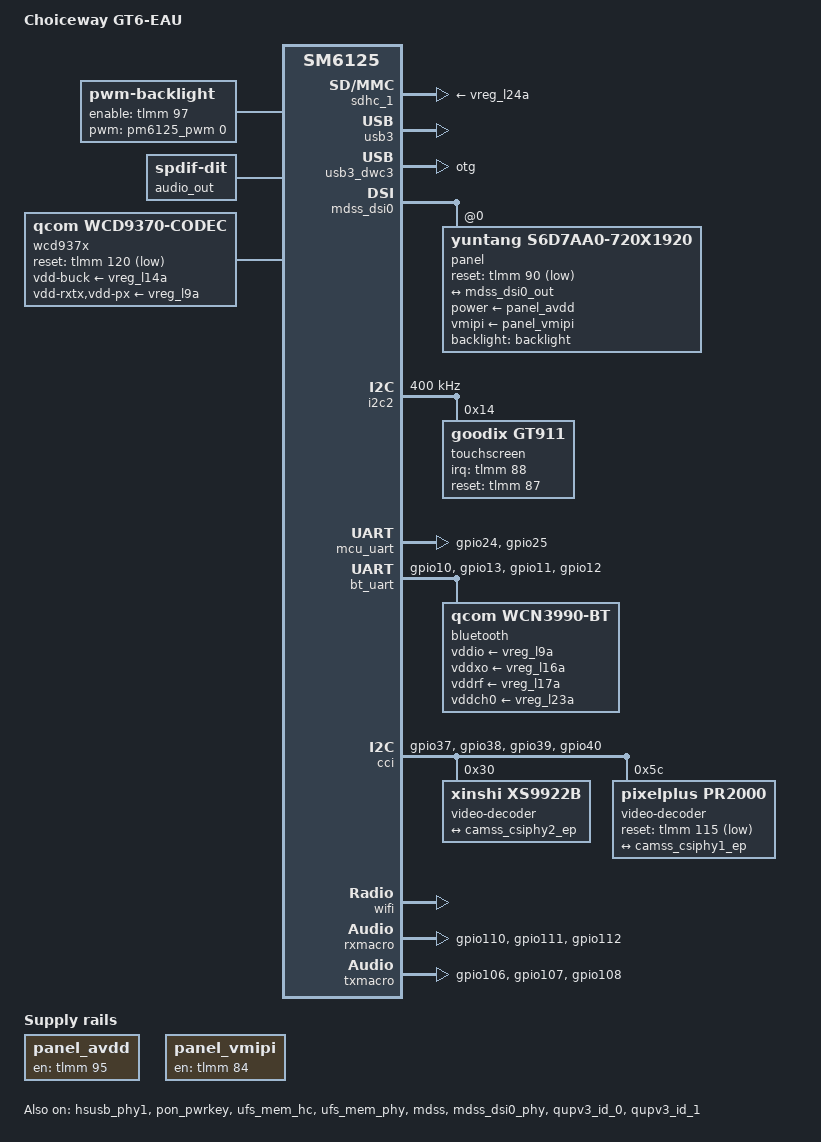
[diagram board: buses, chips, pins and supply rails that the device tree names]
// SPDX-License-Identifier: BSD-3-Clause
/*
 * Choiceway GT6-EAU car head unit (Fibocom SC820/QCM6125), derived from
 * sm6125-xiaomi-ginkgo.dts by Gabriel Gonzales <semfault@disroot.org>.
 */

/dts-v1/;

#include <dt-bindings/arm/qcom,ids.h>
#include <dt-bindings/firmware/qcom,scm.h>
#include <dt-bindings/gpio/gpio.h>
#include <dt-bindings/input/input.h>
#include <dt-bindings/pinctrl/qcom,pmic-gpio.h>
#include <dt-bindings/soc/qcom,apr.h>
#include <dt-bindings/sound/qcom,q6afe.h>
#include <dt-bindings/sound/qcom,q6asm.h>
#include "sm6125.dtsi"
#include "pm6125.dtsi"

/ {
	model = "Choiceway GT6-EAU";
	compatible = "choiceway,gt6-eau", "qcom,sm6125";
	chassis-type = "embedded";

	/* required for bootloader to select correct board */
	/*
	 * ABL must see an exact match for this board, or it applies the unit's downstream dtbo
	 * overlay to this DTB, fails ("Dtb overlay failed") and drops back to fastboot (bench,
	 * 2026-10-07). These are the car overlay's own IDs: QCM6125 (0x1d3) rev 1.0, board 0x22
	 * subtype 0; ABL then logs "Exact DTB match found. DTBO search is not required".
	 */
	qcom,msm-id = <0x1d3 0x10000>;
	qcom,board-id = <0x22 0>;

	aliases {
		serial1 = &mcu_uart;
		serial2 = &bt_uart;
	};

	chosen {
		#address-cells = <2>;
		#size-cells = <2>;
		ranges;

		framebuffer0: framebuffer@5c000000 {
			compatible = "simple-framebuffer";
			reg = <0 0x5c000000 0 (1920 * 720 * 4)>;
			width = <1920>;
			height = <720>;
			stride = <(1920 * 4)>;
			format = "a8r8g8b8";
		};
	};

	panel_avdd: regulator-panel-avdd {
		compatible = "regulator-fixed";
		regulator-name = "panel_avdd";
		gpio = <&tlmm 95 GPIO_ACTIVE_HIGH>;
		enable-active-high;
		startup-delay-us = <5000>;
	};

	panel_vmipi: regulator-panel-vmipi {
		compatible = "regulator-fixed";
		regulator-name = "panel_vmipi";
		gpio = <&tlmm 84 GPIO_ACTIVE_HIGH>;
		enable-active-high;
		startup-delay-us = <5000>;
	};

	/*
	 * Stock: 12-bit levels on the PM6125 LPG, 100 us period, enable on GPIO 97.
	 * The default is half brightness; the stock 102/4095 reads as off in daylight.
	 */
	backlight: backlight {
		compatible = "pwm-backlight";
		pwms = <&pm6125_pwm 0 100000>;
		enable-gpios = <&tlmm 97 GPIO_ACTIVE_HIGH>;
		brightness-levels = <0 4095>;
		num-interpolated-steps = <4095>;
		default-brightness-level = <2048>;
	};

	reserved-memory {
		debug_mem: debug@ffb00000 {
			reg = <0x0 0xffb00000 0x0 0xc0000>;
			no-map;
		};

		last_log_mem: lastlog@ffbc0000 {
			reg = <0x0 0xffbc0000 0x0 0x80000>;
			no-map;
		};

		pstore_mem: ramoops@ffc00000 {
			compatible = "ramoops";
			reg = <0x0 0xffc40000 0x0 0xc0000>;
			record-size = <0x1000>;
			console-size = <0x40000>;
			pmsg-size = <0x20000>;
		};

		cmdline_mem: memory@ffd00000 {
			reg = <0x0 0xffd40000 0x0 0x1000>;
			no-map;
		};

		/*
		 * The modem's remote file system buffer. Stock allocates its 2 MiB at boot
		 * (qcom,sharedmem-uio, reg <0 0x200000>, client 1), so this one is dynamic too.
		 */
		rmtfs_mem: rmtfs {
			compatible = "qcom,rmtfs-mem";
			size = <0x0 0x200000>;
			alignment = <0x0 0x100000>;
			no-map;

			qcom,client-id = <1>;
			qcom,vmid = <QCOM_SCM_VMID_MSS_MSA>;
		};
	};

	/* The modem's SMP2P link: stock qcom,smp2p-modem (SMEM 435/428, SPI 70, APCS bit 14) */
	smp2p-mpss {
		compatible = "qcom,smp2p";
		qcom,smem = <435>, <428>;
		interrupts = <GIC_SPI 70 IRQ_TYPE_EDGE_RISING>;
		mboxes = <&apcs_glb 14>;
		qcom,local-pid = <0>;
		qcom,remote-pid = <1>;

		modem_smp2p_out: master-kernel {
			qcom,entry-name = "master-kernel";
			#qcom,smem-state-cells = <1>;
		};

		modem_smp2p_in: slave-kernel {
			qcom,entry-name = "slave-kernel";
			interrupt-controller;
			#interrupt-cells = <2>;
		};
	};


};


&hsusb_phy1 {
	vdd-supply = <&vreg_l7a>;
	vdda-pll-supply = <&vreg_l10a>;
	vdda-phy-dpdm-supply = <&vreg_l15a>;
	status = "okay";
};

&pon_pwrkey {
	status = "okay";
};


&rpm_requests {
	regulators-0 {
		compatible = "qcom,rpm-pm6125-regulators";

		vreg_s6a: s6 {
			regulator-min-microvolt = <936000>;
			regulator-max-microvolt = <1422000>;
		};

		vreg_l1a: l1 {
			regulator-min-microvolt = <1200000>;
			regulator-max-microvolt = <1256000>;
		};

		vreg_l2a: l2 {
			regulator-min-microvolt = <1000000>;
			regulator-max-microvolt = <1056000>;
		};

		vreg_l3a: l3 {
			regulator-min-microvolt = <1000000>;
			regulator-max-microvolt = <1064000>;
		};

		vreg_l4a: l4 {
			regulator-min-microvolt = <872000>;
			regulator-max-microvolt = <976000>;
			regulator-allow-set-load;
		};

		vreg_l5a: l5 {
			regulator-min-microvolt = <1648000>;
			regulator-max-microvolt = <2950000>;
			regulator-allow-set-load;
		};

		vreg_l6a: l6 {
			regulator-min-microvolt = <576000>;
			regulator-max-microvolt = <656000>;
		};

		vreg_l7a: l7 {
			regulator-min-microvolt = <872000>;
			regulator-max-microvolt = <976000>;
		};

		vreg_l8a: l8 {
			regulator-min-microvolt = <400000>;
			regulator-max-microvolt = <728000>;
		};

		vreg_l9a: l9 {
			regulator-min-microvolt = <1800000>;
			regulator-max-microvolt = <1896000>;
		};

		vreg_l10a: l10 {
			regulator-min-microvolt = <1800000>;
			regulator-max-microvolt = <1896000>;
			regulator-allow-set-load;
		};

		vreg_l11a: l11 {
			regulator-min-microvolt = <1800000>;
			regulator-max-microvolt = <1952000>;
			regulator-allow-set-load;
		};

		vreg_l12a: l12 {
			regulator-min-microvolt = <1800000>;
			regulator-max-microvolt = <1996000>;
		};

		vreg_l13a: l13 {
			regulator-min-microvolt = <1800000>;
			regulator-max-microvolt = <1832000>;
		};

		vreg_l14a: l14 {
			regulator-min-microvolt = <1800000>;
			regulator-max-microvolt = <1904000>;
		};

		vreg_l15a: l15 {
			regulator-min-microvolt = <3104000>;
			regulator-max-microvolt = <3232000>;
		};

		vreg_l16a: l16 {
			regulator-min-microvolt = <1800000>;
			regulator-max-microvolt = <1904000>;
		};

		vreg_l17a: l17 {
			regulator-min-microvolt = <1248000>;
			regulator-max-microvolt = <1304000>;
		};

		vreg_l18a: l18 {
			regulator-min-microvolt = <1200000>;
			regulator-max-microvolt = <1264000>;
			regulator-allow-set-load;
		};

		vreg_l19a: l19 {
			regulator-min-microvolt = <1648000>;
			regulator-max-microvolt = <2952000>;
		};

		vreg_l20a: l20 {
			regulator-min-microvolt = <1648000>;
			regulator-max-microvolt = <2952000>;
		};

		vreg_l21a: l21 {
			regulator-min-microvolt = <2600000>;
			regulator-max-microvolt = <2856000>;
		};

		vreg_l22a: l22 {
			regulator-min-microvolt = <2944000>;
			regulator-max-microvolt = <2950000>;
			regulator-allow-set-load;
		};

		vreg_l23a: l23 {
			regulator-min-microvolt = <3000000>;
			regulator-max-microvolt = <3400000>;
		};

		vreg_l24a: l24 {
			regulator-min-microvolt = <2944000>;
			regulator-max-microvolt = <2950000>;
			regulator-allow-set-load;
		};

	};
};



&sdhc_1 {
	vmmc-supply = <&vreg_l24a>;
	vqmmc-supply = <&vreg_l11a>;
	status = "okay";
};


/*
 * The unit stores on UFS, not eMMC: the stock partitions are /dev/block/sdaN (super is
 * sda6) and EDL reads it with --memory=ufs. Supplies as on laurel-sprout, the mainline
 * SM6125 board with UFS on the same PM6125 rails. Riposte OS (Linux) roots from userdata.
 */
&ufs_mem_hc {
	vcc-supply = <&vreg_l24a>;
	vccq2-supply = <&vreg_l11a>;
	vcc-max-microamp = <600000>;
	vccq2-max-microamp = <600000>;
	vdd-hba-supply = <&vreg_l18a>;
	status = "okay";
};

&ufs_mem_phy {
	vdda-phy-supply = <&vreg_l4a>;
	vdda-pll-supply = <&vreg_l10a>;
	status = "okay";
};

&tlmm {
	gpio-reserved-ranges = <22 2>, <28 6>;
};

&usb3 {
	status = "okay";
};

&usb3_dwc3 {
	/*
	 * Either role, switched from userspace: device by default, so the bench laptop stays the
	 * host (adb, the boot gadget); host when Riposte OS runs Android Auto with a phone on the
	 * cable: echo host > /sys/class/usb_role/<dwc3>-role-switch/role. No connector or extcon
	 * here, the unit's socket has no ID pin that Linux sees.
	 */
	dr_mode = "otg";
	usb-role-switch;
	role-switch-default-mode = "peripheral";
};

&mdss {
	status = "okay";
};

&mdss_dsi0 {
	vdda-supply = <&vreg_l18a>;
	status = "okay";

	panel@0 {
		compatible = "yuntang,s6d7aa0-720x1920";
		reg = <0>;

		reset-gpios = <&tlmm 90 GPIO_ACTIVE_LOW>;
		power-supply = <&panel_avdd>;
		vmipi-supply = <&panel_vmipi>;
		backlight = <&backlight>;
		rotation = <90>;

		port {
			panel_in: endpoint {
				remote-endpoint = <&mdss_dsi0_out>;
			};
		};
	};
};

&mdss_dsi0_out {
	remote-endpoint = <&panel_in>;
	data-lanes = <0 1 2 3>;
};

&mdss_dsi0_phy {
	status = "okay";
};

/* Touch: Goodix GT9xx on SE2 (stock: i2c-1 0x14, irq GPIO 88, reset GPIO 87) */
&qupv3_id_0 {
	status = "okay";
};

&i2c2 {
	clock-frequency = <400000>;
	status = "okay";

	touchscreen@14 {
		compatible = "goodix,gt911";
		reg = <0x14>;

		interrupts-extended = <&tlmm 88 IRQ_TYPE_LEVEL_LOW>;
		irq-gpios = <&tlmm 88 GPIO_ACTIVE_HIGH>;
		reset-gpios = <&tlmm 87 GPIO_ACTIVE_HIGH>;
	};
};

/*
 * The MCU link: SE5 as a 2-wire UART on GPIO 24/25 (stock /dev/ttyHS1, qupv3_se5_2uart).
 * Mainline only describes SE5 as i2c5/spi5, so the UART node lives here.
 */
&qupv3_id_1 {
	status = "okay";

	mcu_uart: serial@4c80000 {
		compatible = "qcom,geni-uart";
		reg = <0x04c80000 0x4000>;
		clocks = <&gcc GCC_QUPV3_WRAP1_S0_CLK>;
		clock-names = "se";
		interrupts = <GIC_SPI 308 IRQ_TYPE_LEVEL_HIGH>;
		pinctrl-0 = <&mcu_uart_default>;
		pinctrl-names = "default";
	};
};

&tlmm {
	mcu_uart_default: mcu-uart-default-state {
		pins = "gpio24", "gpio25";
		function = "qup10";
		drive-strength = <2>;
		bias-disable;
	};
};

/* pm6125.dtsi leaves USID 1 empty; the backlight PWM lives there */
&{/soc@0/spmi@1c40000/pmic@1} {
	#address-cells = <1>;
	#size-cells = <0>;

	pm6125_pwm: pwm {
		compatible = "qcom,pm6125-pwm";
		#pwm-cells = <2>;
	};
};

/*
 * Camera pipeline (os/mainline/CAMERA.md). Registers, interrupts, SMMU streams and CCI pins
 * from the stock device tree; clock names are SDM660's, mapped to SM6125's GCC clocks.
 */
&{/soc@0} {
	camss: camss@5c00020 {
		compatible = "qcom,sm6125-camss";
		reg = <0x05c00020 0x10>,
			      <0x05c30000 0x400>,
			      <0x05c30400 0x400>,
			      <0x05c30800 0x400>,
			      <0x05c30c00 0x400>,
			      <0x01628000 0x1000>,
			      <0x05c00120 0x4>,
			      <0x01629000 0x1000>,
			      <0x05c00124 0x4>,
			      <0x0162a000 0x1000>,
			      <0x05c00128 0x4>,
			      <0x05c31000 0xc00>,
			      <0x05c10000 0x4000>,
			      <0x05c14000 0x4000>;
		reg-names = "csi_clk_mux",
				    "csid0",
				    "csid1",
				    "csid2",
				    "csid3",
				    "csiphy0",
				    "csiphy0_clk_mux",
				    "csiphy1",
				    "csiphy1_clk_mux",
				    "csiphy2",
				    "csiphy2_clk_mux",
				    "ispif",
				    "vfe0",
				    "vfe1";
		interrupts = <GIC_SPI 208 IRQ_TYPE_EDGE_RISING>,
				     <GIC_SPI 209 IRQ_TYPE_EDGE_RISING>,
				     <GIC_SPI 210 IRQ_TYPE_EDGE_RISING>,
				     <GIC_SPI 211 IRQ_TYPE_EDGE_RISING>,
				     <GIC_SPI 72 IRQ_TYPE_EDGE_RISING>,
				     <GIC_SPI 73 IRQ_TYPE_EDGE_RISING>,
				     <GIC_SPI 74 IRQ_TYPE_EDGE_RISING>,
				     <GIC_SPI 212 IRQ_TYPE_EDGE_RISING>,
				     <GIC_SPI 214 IRQ_TYPE_EDGE_RISING>,
				     <GIC_SPI 215 IRQ_TYPE_EDGE_RISING>;
		interrupt-names = "csid0",
					  "csid1",
					  "csid2",
					  "csid3",
					  "csiphy0",
					  "csiphy1",
					  "csiphy2",
					  "ispif",
					  "vfe0",
					  "vfe1";
		clocks = <&gcc GCC_CAMSS_AHB_CLK_SRC>,
				 <&gcc GCC_CAMSS_CPHY_CSID0_CLK>,
				 <&gcc GCC_CAMSS_CPHY_CSID1_CLK>,
				 <&gcc GCC_CAMSS_CPHY_CSID2_CLK>,
				 <&gcc GCC_CAMSS_CPHY_CSID3_CLK>,
				 <&gcc GCC_CAMSS_CSI0_AHB_CLK>,
				 <&gcc GCC_CAMSS_CSI0_CLK>,
				 <&gcc GCC_CAMSS_CPHY_CSID0_CLK>,
				 <&gcc GCC_CAMSS_CSI0PIX_CLK>,
				 <&gcc GCC_CAMSS_CSI0RDI_CLK>,
				 <&gcc GCC_CAMSS_CSI1_AHB_CLK>,
				 <&gcc GCC_CAMSS_CSI1_CLK>,
				 <&gcc GCC_CAMSS_CPHY_CSID1_CLK>,
				 <&gcc GCC_CAMSS_CSI1PIX_CLK>,
				 <&gcc GCC_CAMSS_CSI1RDI_CLK>,
				 <&gcc GCC_CAMSS_CSI2_AHB_CLK>,
				 <&gcc GCC_CAMSS_CSI2_CLK>,
				 <&gcc GCC_CAMSS_CPHY_CSID2_CLK>,
				 <&gcc GCC_CAMSS_CSI2PIX_CLK>,
				 <&gcc GCC_CAMSS_CSI2RDI_CLK>,
				 <&gcc GCC_CAMSS_CSI3_AHB_CLK>,
				 <&gcc GCC_CAMSS_CSI3_CLK>,
				 <&gcc GCC_CAMSS_CPHY_CSID3_CLK>,
				 <&gcc GCC_CAMSS_CSI3PIX_CLK>,
				 <&gcc GCC_CAMSS_CSI3RDI_CLK>,
				 <&gcc GCC_CAMSS_CSI0PHYTIMER_CLK>,
				 <&gcc GCC_CAMSS_CSI1PHYTIMER_CLK>,
				 <&gcc GCC_CAMSS_CSI2PHYTIMER_CLK>,
				 <&gcc GCC_CAMSS_CSIPHY0_CLK>,
				 <&gcc GCC_CAMSS_CSIPHY1_CLK>,
				 <&gcc GCC_CAMSS_CSIPHY2_CLK>,
				 <&gcc GCC_CAMSS_CSI_VFE0_CLK>,
				 <&gcc GCC_CAMSS_CSI_VFE1_CLK>,
				 <&gcc GCC_CAMSS_ISPIF_AHB_CLK>,
				 <&gcc GCC_CAMSS_THROTTLE_RT_AXI_CLK>,
				 <&gcc GCC_CAMSS_TOP_AHB_CLK>,
				 <&gcc GCC_CAMSS_VFE0_AHB_CLK>,
				 <&gcc GCC_CAMSS_VFE0_CLK>,
				 <&gcc GCC_CAMSS_VFE0_STREAM_CLK>,
				 <&gcc GCC_CAMSS_VFE1_AHB_CLK>,
				 <&gcc GCC_CAMSS_VFE1_CLK>,
				 <&gcc GCC_CAMSS_VFE1_STREAM_CLK>,
				 <&gcc GCC_CAMSS_VFE_VBIF_AHB_CLK>,
				 <&gcc GCC_CAMSS_VFE_VBIF_AXI_CLK>;
		clock-names = "ahb",
				      "cphy_csid0",
				      "cphy_csid1",
				      "cphy_csid2",
				      "cphy_csid3",
				      "csi0_ahb",
				      "csi0",
				      "csi0_phy",
				      "csi0_pix",
				      "csi0_rdi",
				      "csi1_ahb",
				      "csi1",
				      "csi1_phy",
				      "csi1_pix",
				      "csi1_rdi",
				      "csi2_ahb",
				      "csi2",
				      "csi2_phy",
				      "csi2_pix",
				      "csi2_rdi",
				      "csi3_ahb",
				      "csi3",
				      "csi3_phy",
				      "csi3_pix",
				      "csi3_rdi",
				      "csiphy0_timer",
				      "csiphy1_timer",
				      "csiphy2_timer",
				      "csiphy0",
				      "csiphy1",
				      "csiphy2",
				      "csi_vfe0",
				      "csi_vfe1",
				      "ispif_ahb",
				      "throttle_axi",
				      "top_ahb",
				      "vfe0_ahb",
				      "vfe0",
				      "vfe0_stream",
				      "vfe1_ahb",
				      "vfe1",
				      "vfe1_stream",
				      "vfe_ahb",
				      "vfe_axi";
		iommus = <&apps_smmu 0x420 0x0>,
			 <&apps_smmu 0x421 0x2>;
		power-domains = <&gcc CAMSS_VFE0_GDSC>,
				<&gcc CAMSS_VFE1_GDSC>;

		ports {
			#address-cells = <1>;
			#size-cells = <0>;

			/* CSIPHY 1: the PR2000, four lanes (stock laneAssign 0x4320) */
			port@1 {
				reg = <1>;

				camss_csiphy1_ep: endpoint {
					clock-lanes = <7>;
					data-lanes = <0 1 2 3>;
					remote-endpoint = <&pr2000_ep>;
				};
			};

			/* CSIPHY 2: the XS9922B, two lanes (stock laneAssign 0x20), VC 0..3 */
			port@2 {
				reg = <2>;

				camss_csiphy2_ep: endpoint {
					clock-lanes = <7>;
					data-lanes = <0 1>;
					remote-endpoint = <&xs9922b_ep>;
				};
			};
		};
	};

	cci: cci@5c0c000 {
		compatible = "qcom,msm8996-cci";
		#address-cells = <1>;
		#size-cells = <0>;
		reg = <0x05c0c000 0x4000>;
		interrupts = <GIC_SPI 207 IRQ_TYPE_EDGE_RISING>;
		assigned-clocks = <&gcc GCC_CAMSS_CCI_CLK>;
		assigned-clock-rates = <37500000>;
		clocks = <&gcc GCC_CAMSS_TOP_AHB_CLK>,
			 <&gcc GCC_CAMSS_CCI_AHB_CLK>,
			 <&gcc GCC_CAMSS_CCI_CLK>,
			 <&gcc GCC_CAMSS_AHB_CLK_SRC>;
		clock-names = "camss_top_ahb", "cci_ahb", "cci", "camss_ahb";
		pinctrl-0 = <&cci0_default &cci1_default>;
		pinctrl-names = "default";
		power-domains = <&gcc CAMSS_TOP_GDSC>;

		cci_i2c0: i2c-bus@0 {
			reg = <0>;
			clock-frequency = <400000>;
			#address-cells = <1>;
			#size-cells = <0>;

			/* the four 360 cameras' decoder (stock: AIS slave 0x60, ID 0x9999) */
			video-decoder@30 {
				compatible = "xinshi,xs9922b";
				reg = <0x30>;

				port {
					xs9922b_ep: endpoint {
						data-lanes = <1 2>;
						link-frequencies = /bits/ 64 <750000000>;
						remote-endpoint = <&camss_csiphy2_ep>;
					};
				};
			};
		};

		cci_i2c1: i2c-bus@1 {
			reg = <1>;
			clock-frequency = <400000>;
			#address-cells = <1>;
			#size-cells = <0>;

			/* the reverse camera's decoder (stock: AIS slave 0xb8, ID 0x2000) */
			video-decoder@5c {
				compatible = "pixelplus,pr2000";
				reg = <0x5c>;
				reset-gpios = <&tlmm 115 GPIO_ACTIVE_LOW>;

				port {
					pr2000_ep: endpoint {
						data-lanes = <1 2 3 4>;
						link-frequencies = /bits/ 64 <148500000>;
						remote-endpoint = <&camss_csiphy1_ep>;
					};
				};
			};
		};
	};
};

&tlmm {
	cci0_default: cci0-default-state {
		pins = "gpio37", "gpio38";
		function = "cci_i2c";
		drive-strength = <2>;
		bias-pull-up;
	};

	cci1_default: cci1-default-state {
		pins = "gpio39", "gpio40";
		function = "cci_i2c";
		drive-strength = <2>;
		bias-pull-up;
	};
};

/*
 * Wi-Fi + Bluetooth: a Qualcomm WCN3990-family combo chip (stock "qca,wcn3990" BT node, "qcom,icnss"
 * WLAN at 0xc800000, BT SoC property "cherokee"). The WLAN firmware runs inside the modem DSP,
 * so Wi-Fi needs the modem up first:
 *
 *   remoteproc mpss (modem.mdt) ──QMI──► wlan PD (wlanmdsp.mbn via tqftpserv) ◄──QMI── ath10k_snoc
 *
 * Every number here is the stock device tree's; the bindings are SM6115's, whose modem
 * resources (PAS id 4, crash SMEM 421, SSCTL 0x12) and WCN3990 rails match this SoC's.
 */
&{/soc@0} {
	remoteproc_mpss: remoteproc@6080000 {
		compatible = "qcom,sm6115-mpss-pas";
		reg = <0x06080000 0x100>;

		interrupts-extended = <&intc GIC_SPI 307 IRQ_TYPE_EDGE_RISING>,
				      <&modem_smp2p_in 0 IRQ_TYPE_EDGE_RISING>,
				      <&modem_smp2p_in 1 IRQ_TYPE_EDGE_RISING>,
				      <&modem_smp2p_in 2 IRQ_TYPE_EDGE_RISING>,
				      <&modem_smp2p_in 3 IRQ_TYPE_EDGE_RISING>,
				      <&modem_smp2p_in 7 IRQ_TYPE_EDGE_RISING>;
		interrupt-names = "wdog", "fatal", "ready", "handover",
				  "stop-ack", "shutdown-ack";

		clocks = <&rpmcc RPM_SMD_XO_CLK_SRC>;
		clock-names = "xo";

		power-domains = <&rpmpd SM6125_VDDCX>;

		memory-region = <&modem_mem>;
		firmware-name = "qcom/sm6125/choiceway/gt6eau/modem.mdt";

		qcom,smem-states = <&modem_smp2p_out 0>;
		qcom,smem-state-names = "stop";

		glink-edge {
			interrupts = <GIC_SPI 68 IRQ_TYPE_EDGE_RISING>;
			label = "mpss";
			qcom,remote-pid = <1>;
			mboxes = <&apcs_glb 12>;
		};
	};

	/* Stock qcom,icnss: same SPIs 358-369, SMMU stream 0x80, MSA at 0x53300000 */
	wifi: wifi@c800000 {
		compatible = "qcom,wcn3990-wifi";
		reg = <0x0c800000 0x800000>;
		reg-names = "membase";
		memory-region = <&wlan_msa_mem>;
		interrupts = <GIC_SPI 358 IRQ_TYPE_LEVEL_HIGH>,
			     <GIC_SPI 359 IRQ_TYPE_LEVEL_HIGH>,
			     <GIC_SPI 360 IRQ_TYPE_LEVEL_HIGH>,
			     <GIC_SPI 361 IRQ_TYPE_LEVEL_HIGH>,
			     <GIC_SPI 362 IRQ_TYPE_LEVEL_HIGH>,
			     <GIC_SPI 363 IRQ_TYPE_LEVEL_HIGH>,
			     <GIC_SPI 364 IRQ_TYPE_LEVEL_HIGH>,
			     <GIC_SPI 365 IRQ_TYPE_LEVEL_HIGH>,
			     <GIC_SPI 366 IRQ_TYPE_LEVEL_HIGH>,
			     <GIC_SPI 367 IRQ_TYPE_LEVEL_HIGH>,
			     <GIC_SPI 368 IRQ_TYPE_LEVEL_HIGH>,
			     <GIC_SPI 369 IRQ_TYPE_LEVEL_HIGH>;
		iommus = <&apps_smmu 0x80 0x1>;

		/* stock: vdd-cx-mx L8, vdd-1.8-xo L16, vdd-1.3-rfa L17, vdd-3.3-ch0 L23 */
		vdd-0.8-cx-mx-supply = <&vreg_l8a>;
		vdd-1.8-xo-supply = <&vreg_l16a>;
		vdd-1.3-rfa-supply = <&vreg_l17a>;
		vdd-3.3-ch0-supply = <&vreg_l23a>;

		/* stock qcom,wlan-msa-fixed-region: the firmware owns the MSA permissions */
		qcom,msa-fixed-perm;
	};
};

/*
 * Bluetooth: SE9 as a 4-wire UART on GPIO 10-13 (stock /dev/ttyHS0, qupv3_se9_4uart, SPI 312).
 * Mainline only describes SE9 as i2c9/spi9, so the UART node lives here.
 */
&qupv3_id_1 {
	bt_uart: serial@4c90000 {
		compatible = "qcom,geni-uart";
		reg = <0x04c90000 0x4000>;
		clocks = <&gcc GCC_QUPV3_WRAP1_S4_CLK>;
		clock-names = "se";
		interrupts = <GIC_SPI 312 IRQ_TYPE_LEVEL_HIGH>;
		pinctrl-0 = <&bt_uart_default>;
		pinctrl-names = "default";

		/* stock bt_wcn3990: vdd-io L9, vdd-xtal L16, vdd-core L17, vdd-pa L23 */
		bluetooth {
			compatible = "qcom,wcn3990-bt";
			vddio-supply = <&vreg_l9a>;
			vddxo-supply = <&vreg_l16a>;
			vddrf-supply = <&vreg_l17a>;
			vddch0-supply = <&vreg_l23a>;
			max-speed = <3200000>;
		};
	};
};

&tlmm {
	/* stock pulls: CTS/RX none, RTS down, TX up */
	bt_uart_default: bt-uart-default-state {
		cts-rx-pins {
			pins = "gpio10", "gpio13";
			function = "qup14";
			drive-strength = <2>;
			bias-disable;
		};

		rts-pins {
			pins = "gpio11";
			function = "qup14";
			drive-strength = <2>;
			bias-pull-down;
		};

		tx-pins {
			pins = "gpio12";
			function = "qup14";
			drive-strength = <2>;
			bias-pull-up;
		};
	};
};

/*
 * Audio: the ADSP (LPASS QDSP6) runs the stock firmware, and the kernel talks to it over APR
 * (q6core, q6afe, q6asm, q6adm). The stock HAL sends every speaker stream to the secondary
 * MI2S port (audio_platform_info_intcodec.xml: SND_DEVICE_OUT_SPEAKER = SEC_MI2S_RX), one
 * data line out of the SoC to the car's audio chain, which the MCU switches and sets the
 * volume of (05 05 v). Nothing on that chain sits on a SoC bus, so the far end is a stand-in.
 *
 *   q6asm MultiMedia1-3 ──► q6adm routing ──► q6afe SECONDARY_MI2S_RX ──► GPIO 125-127 ──► amp/DSP
 *
 * The bindings come from SM6115 (Qualcomm RB2), whose LPASS shares this SoC's generation and
 * whose card drives the same port. Every number is the stock device tree's: PAS id 1, crash
 * SMEM 423, SSCTL 0x14, wdog SPI 396, glink SPI 391 on APCS bit 8, SMP2P SMEM 443/429 on
 * SPI 393 and APCS bit 10, audio stream 0x41.
 */
/ {
	/* stock qcom,smp2p-adsp */
	smp2p-adsp {
		compatible = "qcom,smp2p";
		qcom,smem = <443>, <429>;
		interrupts = <GIC_SPI 393 IRQ_TYPE_EDGE_RISING>;
		mboxes = <&apcs_glb 10>;
		qcom,local-pid = <0>;
		qcom,remote-pid = <2>;

		adsp_smp2p_out: master-kernel {
			qcom,entry-name = "master-kernel";
			#qcom,smem-state-cells = <1>;
		};

		adsp_smp2p_in: slave-kernel {
			qcom,entry-name = "slave-kernel";
			interrupt-controller;
			#interrupt-cells = <2>;
		};
	};

	/*
	 * The receiver on the I2S line: not on I2C, no MCLK pin, clocked by the SoC (stock
	 * qcom,msm-mi2s-master). A control-less transmitter stands in until the bench names it.
	 */
	audio_out: audio-codec {
		compatible = "linux,spdif-dit";
		#sound-dai-cells = <0>;
	};

	sound {
		compatible = "qcom,qrb4210-rb2-sndcard";
		model = "GT6-EAU";
		pinctrl-0 = <&sec_mi2s_active>;
		pinctrl-names = "default";

		mm1-dai-link {
			link-name = "MultiMedia1";

			cpu {
				sound-dai = <&q6asmdai MSM_FRONTEND_DAI_MULTIMEDIA1>;
			};
		};

		mm2-dai-link {
			link-name = "MultiMedia2";

			cpu {
				sound-dai = <&q6asmdai MSM_FRONTEND_DAI_MULTIMEDIA2>;
			};
		};

		mm3-dai-link {
			link-name = "MultiMedia3";

			cpu {
				sound-dai = <&q6asmdai MSM_FRONTEND_DAI_MULTIMEDIA3>;
			};
		};

		car-dai-link {
			link-name = "Car Audio";

			cpu {
				sound-dai = <&q6afedai SECONDARY_MI2S_RX>;
			};

			platform {
				sound-dai = <&q6routing>;
			};

			codec {
				sound-dai = <&audio_out>;
			};
		};

		/*
		 * Microphones: stock records WCD937x ADC1 (AMIC1) and ADC2 (INP3, AMIC3) → TX macro
		 * → TX_CDC_DMA_TX_3 (cdc-dma port 45115). The card waits for every link's
		 * components, so a macro or codec that fails to probe would take the speaker down
		 * with it. Both links stay off until the bench shows wcd937x bound (dmesg "bound
		 * sdw..."). Then set them to "okay" and add audio-routing = "AMIC1", "MIC BIAS1",
		 * "AMIC3", "MIC BIAS3" (stock's routes; a route to a codec outside the card fails
		 * the whole card, so not yet).
		 */
		mm4-dai-link {
			link-name = "MultiMedia4";
			status = "disabled";

			cpu {
				sound-dai = <&q6asmdai MSM_FRONTEND_DAI_MULTIMEDIA4>;
			};
		};

		mic-dai-link {
			link-name = "Microphone";
			status = "disabled";

			cpu {
				sound-dai = <&q6afedai TX_CODEC_DMA_TX_3>;
			};

			platform {
				sound-dai = <&q6routing>;
			};

			codec {
				sound-dai = <&wcd937x 1>, <&swr_tx 0>, <&txmacro 0>;
			};
		};
	};

	/*
	 * The SoC's codec. Stock: qcom,wcd937x-codec, reset GPIO 120, rx/tx/px from L9A and the
	 * buck from L14A (1.8 V each), micbias 1-3 at 1.8 V, slaves 0x...224 (RX) and 0x...223 (TX)
	 * on the macros' SoundWire masters. Stock names no mic-bias supply: Linux falls back to a
	 * dummy, and whether the bias reaches the car's mic is a bench question.
	 */
	wcd937x: audio-codec-1 {
		compatible = "qcom,wcd9370-codec";

		pinctrl-0 = <&wcd_reset_n>;
		pinctrl-names = "default";

		reset-gpios = <&tlmm 120 GPIO_ACTIVE_LOW>;

		vdd-buck-supply = <&vreg_l14a>;
		vdd-rxtx-supply = <&vreg_l9a>;
		vdd-px-supply = <&vreg_l9a>;

		qcom,micbias1-microvolt = <1800000>;
		qcom,micbias2-microvolt = <1800000>;
		qcom,micbias3-microvolt = <1800000>;

		qcom,rx-device = <&wcd937x_rx>;
		qcom,tx-device = <&wcd937x_tx>;

		#sound-dai-cells = <1>;
	};

	/*
	 * The macros' "fsgen" input. On SM8250 the VA macro's frame-sync generator feeds RX and
	 * TX; this SoC's bolero has no VA macro (stock qcom,va-without-decimation, 3 macros: RX,
	 * TX, WSA) and each macro gates its own MCLK. The drivers only enable fsgen, so an
	 * always-on clock stands in.
	 */
	lpass_fsgen: lpass-fsgen-clk {
		compatible = "fixed-clock";
		#clock-cells = <0>;
		clock-frequency = <19200000>;
	};
};

&{/soc@0} {
	remoteproc_adsp: remoteproc@ab00000 {
		compatible = "qcom,sm6115-adsp-pas";
		reg = <0x0ab00000 0x100>;

		interrupts-extended = <&intc GIC_SPI 396 IRQ_TYPE_EDGE_RISING>,
				      <&adsp_smp2p_in 0 IRQ_TYPE_EDGE_RISING>,
				      <&adsp_smp2p_in 1 IRQ_TYPE_EDGE_RISING>,
				      <&adsp_smp2p_in 2 IRQ_TYPE_EDGE_RISING>,
				      <&adsp_smp2p_in 3 IRQ_TYPE_EDGE_RISING>;
		interrupt-names = "wdog", "fatal", "ready",
				  "handover", "stop-ack";

		clocks = <&rpmcc RPM_SMD_XO_CLK_SRC>;
		clock-names = "xo";

		/* stock votes only vdd_cx; SM6125's RPM has no LPI domains */
		power-domains = <&rpmpd SM6125_VDDCX>;

		memory-region = <&adsp_pil_mem>;
		firmware-name = "qcom/sm6125/choiceway/gt6eau/adsp.mdt";

		qcom,smem-states = <&adsp_smp2p_out 0>;
		qcom,smem-state-names = "stop";

		glink-edge {
			interrupts = <GIC_SPI 391 IRQ_TYPE_EDGE_RISING>;
			label = "lpass";
			qcom,remote-pid = <2>;
			mboxes = <&apcs_glb 8>;

			apr {
				compatible = "qcom,apr-v2";
				qcom,glink-channels = "apr_audio_svc";
				qcom,domain = <APR_DOMAIN_ADSP>;
				#address-cells = <1>;
				#size-cells = <0>;

				service@3 {
					reg = <APR_SVC_ADSP_CORE>;
					compatible = "qcom,q6core";
					qcom,protection-domain = "avs/audio",
								 "msm/adsp/audio_pd";
				};

				q6afe: service@4 {
					compatible = "qcom,q6afe";
					reg = <APR_SVC_AFE>;
					qcom,protection-domain = "avs/audio",
								 "msm/adsp/audio_pd";

					q6afedai: dais {
						compatible = "qcom,q6afe-dais";
						#address-cells = <1>;
						#size-cells = <0>;
						#sound-dai-cells = <1>;

						/* stock qcom,msm-mi2s-rx-lines = <1>: SD0 only */
						dai@12 {
							reg = <SECONDARY_MI2S_RX>;
							qcom,sd-lines = <0>;
						};
					};

					q6afecc: clock-controller {
						compatible = "qcom,q6afe-clocks";
						#clock-cells = <2>;
					};
				};

				q6asm: service@7 {
					compatible = "qcom,q6asm";
					reg = <APR_SVC_ASM>;
					qcom,protection-domain = "avs/audio",
								 "msm/adsp/audio_pd";

					q6asmdai: dais {
						compatible = "qcom,q6asm-dais";
						#address-cells = <1>;
						#size-cells = <0>;
						#sound-dai-cells = <1>;
						/* stock qcom,msm-audio-ion */
						iommus = <&apps_smmu 0x41 0x0>;

						dai@0 {
							reg = <MSM_FRONTEND_DAI_MULTIMEDIA1>;
						};

						dai@1 {
							reg = <MSM_FRONTEND_DAI_MULTIMEDIA2>;
						};

						dai@2 {
							reg = <MSM_FRONTEND_DAI_MULTIMEDIA3>;
						};

						/* capture front end for the microphones */
						dai@3 {
							reg = <MSM_FRONTEND_DAI_MULTIMEDIA4>;
						};
					};
				};

				q6adm: service@8 {
					compatible = "qcom,q6adm";
					reg = <APR_SVC_ADM>;
					qcom,protection-domain = "avs/audio",
								 "msm/adsp/audio_pd";

					q6routing: routing {
						compatible = "qcom,q6adm-routing";
						#sound-dai-cells = <0>;
					};
				};
			};
		};
	};
};

&tlmm {
	/* stock sec_i2s_*_active: SCK 125, WS 126, SD0 127, SD1 128 (unused), 8 mA, no pulls */
	sec_mi2s_active: sec-mi2s-active-state {
		pins = "gpio125", "gpio126", "gpio127", "gpio128";
		function = "sec_mi2s";
		drive-strength = <8>;
		bias-disable;
	};

	/* stock rx_swr_*_active: CLK 110, DATA 111-112, 10 mA, bus hold */
	rx_swr_active: rx-swr-active-state {
		pins = "gpio110", "gpio111", "gpio112";
		function = "swr_rx";
		drive-strength = <10>;
		bias-bus-hold;
	};

	/* stock tx_swr_*_active: CLK 106, DATA 107-108, 10 mA, bus hold */
	tx_swr_active: tx-swr-active-state {
		pins = "gpio106", "gpio107", "gpio108";
		function = "swr_tx";
		drive-strength = <10>;
		bias-bus-hold;
	};

	/* stock wcd937x_reset_active: 16 mA */
	wcd_reset_n: wcd-reset-n-state {
		pins = "gpio120";
		function = "gpio";
		drive-strength = <16>;
		output-high;
	};
};

/*
 * Microphone path: the LPASS digital codec ("bolero") RX and TX macros, each with its own
 * SoundWire master, and the WCD937x's two SoundWire slaves on them. The layout is SM8250's
 * (TX macro owns the TX SoundWire, no VA decimators), not SM6115's, so the macros take the
 * sm8250 match data. Addresses, interrupts and clocks are the stock tree's: RX 0xa440000 +
 * SWR 0xa450000 (SPI 188), TX 0xa460000 + SWR 0xa470000 (SPI 184); q6afe clocks 0x30c/0x30d
 * (TX core/NPL) and 0x30e/0x30f (RX core/NPL). The drivers set both to 19.2 MHz.
 *
 *   AMIC1 ─► WCD937x ADC1 ─► TX SoundWire ─► TX macro DEC ─► TX_CODEC_DMA_TX_3 ─► MultiMedia4
 *
 * The RX side carries no audio here: the WCD937x driver binds only once both slaves are up.
 */
&{/soc@0} {
	rxmacro: codec@a440000 {
		compatible = "qcom,sm8250-lpass-rx-macro";
		reg = <0x0a440000 0x1000>;

		pinctrl-0 = <&rx_swr_active>;
		pinctrl-names = "default";

		clocks = <&q6afecc LPASS_CLK_ID_RX_CORE_MCLK LPASS_CLK_ATTRIBUTE_COUPLE_NO>,
			 <&q6afecc LPASS_CLK_ID_RX_CORE_NPL_MCLK LPASS_CLK_ATTRIBUTE_COUPLE_NO>,
			 <&q6afecc LPASS_HW_DCODEC_VOTE LPASS_CLK_ATTRIBUTE_COUPLE_NO>,
			 <&lpass_fsgen>;
		clock-names = "mclk", "npl", "dcodec", "fsgen";

		#clock-cells = <0>;
		clock-output-names = "mclk";
		#sound-dai-cells = <1>;
	};

	/* port setup copied from SM8250's RX master (5 ports, as stock qcom,swr-num-ports) */
	swr_rx: soundwire@a450000 {
		compatible = "qcom,soundwire-v1.5.1";
		reg = <0x0a450000 0x2000>;
		interrupts = <GIC_SPI 188 IRQ_TYPE_LEVEL_HIGH>;

		clocks = <&rxmacro>;
		clock-names = "iface";
		label = "RX";

		qcom,din-ports = <0>;
		qcom,dout-ports = <5>;

		qcom,ports-sinterval-low =	/bits/ 8 <0x03 0x1f 0x1f 0x07 0x00>;
		qcom,ports-offset1 =		/bits/ 8 <0x00 0x00 0x0b 0x01 0x00>;
		qcom,ports-offset2 =		/bits/ 8 <0x00 0x00 0x0b 0x00 0x00>;
		qcom,ports-hstart =		/bits/ 8 <0xff 0x03 0xff 0xff 0xff>;
		qcom,ports-hstop =		/bits/ 8 <0xff 0x06 0xff 0xff 0xff>;
		qcom,ports-word-length =	/bits/ 8 <0x01 0x07 0x04 0xff 0xff>;
		qcom,ports-block-pack-mode =	/bits/ 8 <0xff 0x00 0x01 0xff 0xff>;
		qcom,ports-lane-control =	/bits/ 8 <0x01 0x00 0x00 0x00 0x00>;
		qcom,ports-block-group-count =	/bits/ 8 <0xff 0xff 0xff 0xff 0x00>;

		#sound-dai-cells = <1>;
		#address-cells = <2>;
		#size-cells = <0>;

		/* stock wcd937x-rx-slave, 0x1170224 */
		wcd937x_rx: codec@0,4 {
			compatible = "sdw20217010a00";
			reg = <0 4>;
			qcom,rx-port-mapping = <1 2 3 4 5>;
		};
	};

	txmacro: codec@a460000 {
		compatible = "qcom,sm8250-lpass-tx-macro";
		reg = <0x0a460000 0x1000>;

		pinctrl-0 = <&tx_swr_active>;
		pinctrl-names = "default";

		clocks = <&q6afecc LPASS_CLK_ID_TX_CORE_MCLK LPASS_CLK_ATTRIBUTE_COUPLE_NO>,
			 <&q6afecc LPASS_CLK_ID_TX_CORE_NPL_MCLK LPASS_CLK_ATTRIBUTE_COUPLE_NO>,
			 <&q6afecc LPASS_HW_DCODEC_VOTE LPASS_CLK_ATTRIBUTE_COUPLE_NO>,
			 <&lpass_fsgen>;
		clock-names = "mclk", "npl", "dcodec", "fsgen";

		#clock-cells = <0>;
		clock-output-names = "mclk";
		#sound-dai-cells = <1>;
	};

	/* port setup copied from SM8250's TX master (5 ports, as stock) */
	swr_tx: soundwire@a470000 {
		compatible = "qcom,soundwire-v1.5.1";
		reg = <0x0a470000 0x2000>;
		interrupts = <GIC_SPI 184 IRQ_TYPE_LEVEL_HIGH>;
		interrupt-names = "core";

		clocks = <&txmacro>;
		clock-names = "iface";
		label = "TX";

		qcom,din-ports = <5>;
		qcom,dout-ports = <0>;

		qcom,ports-sinterval-low =	/bits/ 8 <0xff 0x01 0x01 0x03 0x03>;
		qcom,ports-offset1 =		/bits/ 8 <0xff 0x01 0x00 0x02 0x00>;
		qcom,ports-offset2 =		/bits/ 8 <0xff 0x00 0x00 0x00 0x00>;
		qcom,ports-block-pack-mode =	/bits/ 8 <0xff 0xff 0xff 0xff 0xff>;
		qcom,ports-hstart =		/bits/ 8 <0xff 0xff 0xff 0xff 0xff>;
		qcom,ports-hstop =		/bits/ 8 <0xff 0xff 0xff 0xff 0xff>;
		qcom,ports-word-length =	/bits/ 8 <0xff 0xff 0xff 0xff 0xff>;
		qcom,ports-block-group-count =	/bits/ 8 <0xff 0xff 0xff 0xff 0xff>;
		qcom,ports-lane-control =	/bits/ 8 <0xff 0x00 0x01 0x00 0x01>;

		#sound-dai-cells = <1>;
		#address-cells = <2>;
		#size-cells = <0>;

		/* stock wcd937x-tx-slave, 0x1170223 */
		wcd937x_tx: codec@0,3 {
			compatible = "sdw20217010a00";
			reg = <0 3>;

			/* WCD port 1 ADC1, 2 ADC2/3, 3 DMIC0-3 + MBHC, 4 DMIC4-7 */
			qcom,tx-port-mapping = <1 1 2 3>;

			/*
			 * slave port channels in order adc1, adc2, adc3, mic0, dmic1, mbhc, dmic2,
			 * dmic3, dmic4, dmic5, dmic6, dmic7 (qcm6490-idp's WCD9370 mapping)
			 */
			qcom,tx-channel-mapping = /bits/ 8 <1 2 1 1 2 3 3 4 1 2 3 4>;
		};
	};
};
